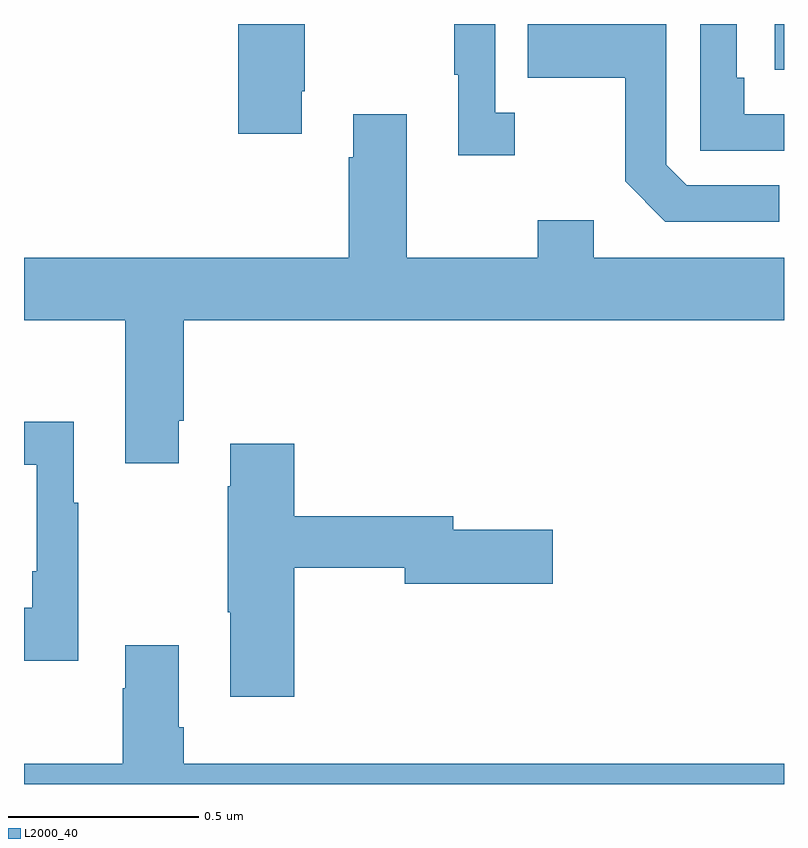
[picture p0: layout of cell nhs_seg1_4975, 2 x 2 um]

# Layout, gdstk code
import gdstk
lib = gdstk.Library(unit=1e-6, precision=1e-09)
def R(c, l, rs):  # rectangles x0, y0, x1, y1
    for r in rs: c.add(gdstk.rectangle(r[:2], r[2:], *l))
def P(c, l, *ps):  # polygons
    for p in ps: c.add(gdstk.Polygon(p, *l))
L2000_40 = (2000, 40)

nhs_seg1_4975 = lib.new_cell('nhs_seg1_4975')
R(nhs_seg1_4975, L2000_40, [(174.975,531.078,175,531.199)])
P(nhs_seg1_4975, L2000_40, [(175,530.961),(174.896,530.961),(174.896,531.058),(174.876,531.058),(174.876,531.199),(174.78,531.199),(174.78,530.865),(175,530.865)],
  [(174.988,530.775),(174.744,530.775),(174.69,530.829),(174.69,531.199),(174.325,531.199),(174.325,531.058),(174.582,531.058),(174.582,530.785),(174.687,530.679),(174.988,530.679)],
  [(173.731,531.022),(173.739,531.022),(173.739,531.199),(173.564,531.199),(173.564,530.91),(173.731,530.91)],
  [(174.292,530.966),(174.24,530.966),(174.24,531.199),(174.132,531.199),(174.132,531.065),(174.143,531.065),(174.143,530.853),(174.292,530.853)],
  [(173.407,530.155),(173.42,530.155),(173.42,530.42),(175,530.42),(175,530.584),(174.499,530.584),(174.499,530.683),(174.352,530.683),(174.352,530.584),(174.007,530.584),(174.007,530.962),(173.867,530.962),(173.867,530.849),(173.855,530.849),(173.855,530.584),(173,530.584),(173,530.42),(173.267,530.42),(173.267,530.043),(173.407,530.043)],
  [(173.143,529.939),(173.131,529.939),(173.131,530.152),(173,530.152),(173,530.039),(173.034,530.039),(173.034,529.759),(173.022,529.759),(173.022,529.663),(173,529.663),(173,529.523),(173.143,529.523)],
  [(173.711,529.768),(174.002,529.768),(174.002,529.726),(174.391,529.726),(174.391,529.868),(174.13,529.868),(174.13,529.904),(173.711,529.904),(173.711,530.095),(173.543,530.095),(173.543,529.982),(173.536,529.982),(173.536,529.651),(173.543,529.651),(173.543,529.428),(173.711,529.428)],
  [(175,529.252),(173.42,529.252),(173.42,529.348),(173.407,529.348),(173.407,529.564),(173.267,529.564),(173.267,529.451),(173.26,529.451),(173.26,529.252),(173,529.252),(173,529.199),(175,529.199)])

lib.write_gds('nhs_seg1_4975.gds')
